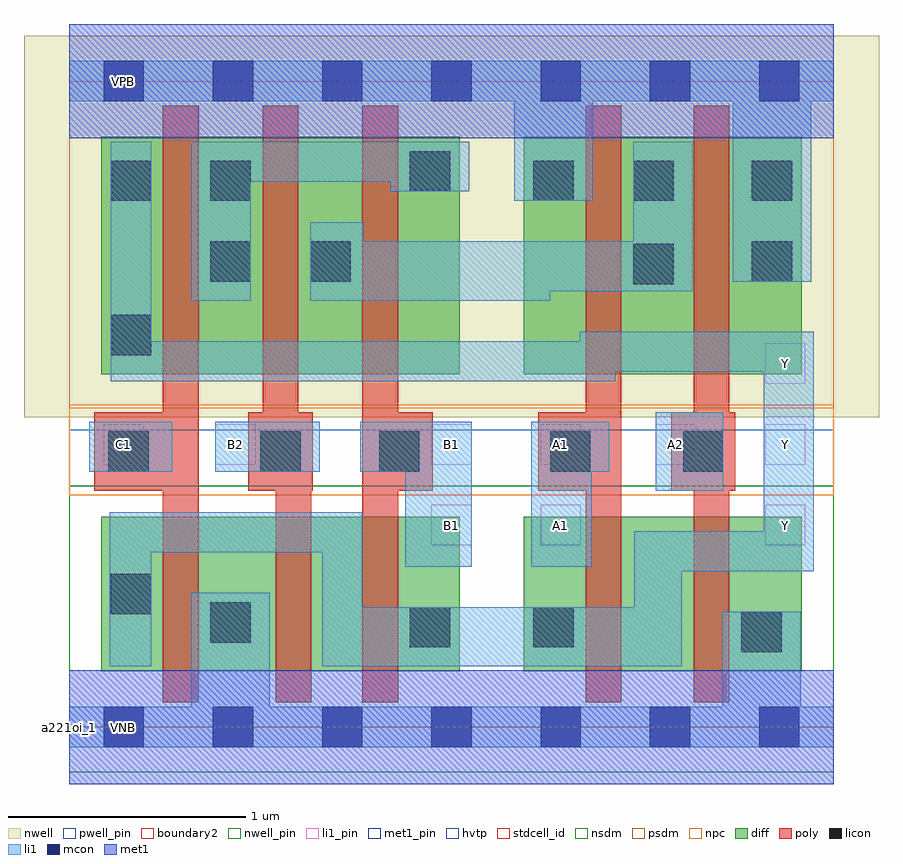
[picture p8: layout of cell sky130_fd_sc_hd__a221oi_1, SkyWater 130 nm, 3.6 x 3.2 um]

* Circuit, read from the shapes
.subckt sky130_fd_sc_hd__a221oi_1 A1 A2 B1 B2 C1 VGND VNB VPB VPWR Y
XM1 VGND C1 Y VNB sky130_fd_pr__nfet_01v8 w=0.65 l=0.15
XM2 n1 B2 VGND VNB sky130_fd_pr__nfet_01v8 w=0.65 l=0.15
XM3 Y B1 n1 VNB sky130_fd_pr__nfet_01v8 w=0.65 l=0.15
XM4 n2 A1 Y VNB sky130_fd_pr__nfet_01v8 w=0.65 l=0.15
XM5 VGND A2 n2 VNB sky130_fd_pr__nfet_01v8 w=0.65 l=0.15
XM6 n3 C1 Y VPB sky130_fd_pr__pfet_01v8_hvt w=1 l=0.15
XM7 n4 B2 n3 VPB sky130_fd_pr__pfet_01v8_hvt w=1 l=0.15
XM8 n3 B1 n4 VPB sky130_fd_pr__pfet_01v8_hvt w=1 l=0.15
XM9 n4 A1 VPWR VPB sky130_fd_pr__pfet_01v8_hvt w=1 l=0.15
XM10 VPWR A2 n4 VPB sky130_fd_pr__pfet_01v8_hvt w=1 l=0.15
.ends

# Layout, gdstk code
import gdstk
lib = gdstk.Library(unit=1e-6, precision=1e-09)
def R(c, l, rs):  # rectangles x0, y0, x1, y1
    for r in rs: c.add(gdstk.rectangle(r[:2], r[2:], *l))
def A(c, l, x, y, w, h, nx, ny, dx, dy):  # array of equal rectangles
    R(c, l, [(x+i*dx, y+j*dy, x+i*dx+w, y+j*dy+h) for i in range(nx) for j in range(ny)])
def P(c, l, *ps):  # polygons
    for p in ps: c.add(gdstk.Polygon(p, *l))
nwell_pin = (64, 16)
nwell = (64, 20)
diff = (65, 20)
poly = (66, 20)
licon = (66, 44)
li1_pin = (67, 16)
li1 = (67, 20)
mcon = (67, 44)
met1_pin = (68, 16)
met1 = (68, 20)
hvtp = (78, 44)
stdcell_id = (81, 4)
nsdm = (93, 44)
psdm = (94, 20)
npc = (95, 20)
pwell_pin = (122, 16)
boundary2 = (236, 0)

sky130_fd_sc_hd__a221oi_ = lib.new_cell('sky130_fd_sc_hd__a221oi_1')
R(sky130_fd_sc_hd__a221oi_, nwell_pin, [(0.145,2.635,0.315,2.805)])
R(sky130_fd_sc_hd__a221oi_, nwell, [(-0.19,1.305,3.41,2.91)])
R(sky130_fd_sc_hd__a221oi_, diff, [(0.135,0.235,1.645,0.885), (1.915,0.235,3.085,0.885), (0.135,1.485,1.645,2.485), (1.915,1.485,3.085,2.485)])
R(sky130_fd_sc_hd__a221oi_, poly, [(1.235,1.325,1.385,2.615), (2.175,1.325,2.325,2.615)])
P(sky130_fd_sc_hd__a221oi_, poly, [(0.545,2.615),(0.395,2.615),(0.395,1.325),(0.105,1.325),(0.105,0.995),(0.395,0.995),(0.395,0.105),(0.545,0.105)],
  [(1.025,0.995),(1.025,1.325),(0.965,1.325),(0.965,2.615),(0.815,2.615),(0.815,1.325),(0.755,1.325),(0.755,0.995),(0.87,0.995),(0.87,0.105),(1.02,0.105),(1.02,0.995)],
  [(1.53,1.325),(1.235,1.325),(1.235,0.105),(1.385,0.105),(1.385,0.995),(1.53,0.995)],
  [(2.325,1.325),(1.975,1.325),(1.975,0.995),(2.175,0.995),(2.175,0.105),(2.325,0.105)],
  [(2.805,0.995),(2.805,1.325),(2.78,1.325),(2.78,2.615),(2.63,2.615),(2.63,1.325),(2.535,1.325),(2.535,0.995),(2.63,0.995),(2.63,0.105),(2.78,0.105),(2.78,0.995)])
R(sky130_fd_sc_hd__a221oi_, licon, [(2.83,0.315,3,0.485), (1.435,0.335,1.605,0.505), (1.955,0.335,2.125,0.505), (0.595,0.355,0.765,0.525), (0.175,0.475,0.345,0.645), (0.165,1.075,0.335,1.245), (0.805,1.075,0.975,1.245), (1.305,1.075,1.475,1.245), (2.025,1.075,2.195,1.245), (2.585,1.075,2.755,1.245), (0.175,1.565,0.345,1.735), (2.375,1.865,2.545,2.035), (0.595,1.875,0.765,2.045), (1.015,1.875,1.185,2.045), (2.875,1.875,3.045,2.045), (0.175,2.215,0.345,2.385), (0.595,2.215,0.765,2.385), (1.955,2.215,2.125,2.385), (2.375,2.215,2.545,2.385), (2.875,2.215,3.045,2.385), (1.435,2.255,1.605,2.425)])
A(sky130_fd_sc_hd__a221oi_, li1_pin, 2.93, 0.765, 0.17, 0.17, 1, 3, 0, 0.34)
R(sky130_fd_sc_hd__a221oi_, li1_pin, [(1.525,0.765,1.695,0.935), (1.985,0.765,2.155,0.935), (0.145,1.105,0.315,1.275), (0.615,1.105,0.785,1.275), (1.525,1.105,1.695,1.275), (1.985,1.105,2.155,1.275), (2.47,1.105,2.64,1.275)])
R(sky130_fd_sc_hd__a221oi_, li1, [(2.47,0.995,2.755,1.325), (0.085,1.075,0.435,1.285), (0.615,1.075,1.055,1.285)])
P(sky130_fd_sc_hd__a221oi_, li1, [(1.695,1.285),(1.225,1.285),(1.225,1.075),(1.415,1.075),(1.415,0.675),(1.695,0.675)],
  [(2.275,1.285),(1.945,1.285),(1.945,0.675),(2.2,0.675),(2.2,1.075),(2.275,1.075)],
  [(1.685,2.465),(0.515,2.465),(0.515,1.795),(0.765,1.795),(0.765,2.295),(1.355,2.295),(1.355,2.255),(1.685,2.255)],
  [(2.625,2.465),(2.375,2.465),(2.375,2.045),(1.24,2.045),(1.24,2.125),(1.015,2.125),(1.015,1.795),(2.025,1.795),(2.025,1.835),(2.625,1.835)],
  [(3.135,1.665),(2.15,1.665),(2.15,1.625),(0.345,1.625),(0.345,2.465),(0.175,2.465),(0.175,1.455),(2.3,1.455),(2.3,1.495),(2.925,1.495),(2.925,0.825),(2.38,0.825),(2.38,0.505),(1.235,0.505),(1.235,0.905),(0.17,0.905),(0.17,0.255),(0.345,0.255),(0.345,0.735),(1.065,0.735),(1.065,0.255),(2.58,0.255),(2.58,0.655),(3.135,0.655)],
  [(3.22,0.085),(3.08,0.085),(3.08,0.485),(2.75,0.485),(2.75,0.085),(0.845,0.085),(0.845,0.565),(0.515,0.565),(0.515,0.085),(0,0.085),(0,-0.085),(3.22,-0.085)],
  [(3.22,2.805),(0,2.805),(0,2.635),(1.875,2.635),(1.875,2.215),(2.205,2.215),(2.205,2.635),(2.795,2.635),(2.795,1.875),(3.125,1.875),(3.125,2.635),(3.22,2.635)])
A(sky130_fd_sc_hd__a221oi_, mcon, 0.145, -0.085, 0.17, 0.17, 7, 2, 0.46, 2.72)
R(sky130_fd_sc_hd__a221oi_, met1_pin, [(0.145,-0.085,0.315,0.085), (0.145,2.635,0.315,2.805)])
R(sky130_fd_sc_hd__a221oi_, hvtp, [(0,1.25,3.22,2.72)])
R(sky130_fd_sc_hd__a221oi_, stdcell_id, [(0,0,3.22,2.72)])
R(sky130_fd_sc_hd__a221oi_, nsdm, [(0,-0.19,3.22,1.015)])
R(sky130_fd_sc_hd__a221oi_, psdm, [(0,1.355,3.22,2.91)])
R(sky130_fd_sc_hd__a221oi_, npc, [(0,0.975,3.22,1.345)])
R(sky130_fd_sc_hd__a221oi_, pwell_pin, [(0.145,-0.085,0.315,0.085)])
R(sky130_fd_sc_hd__a221oi_, boundary2, [(0,0,3.22,2.72)])
sky130_fd_sc_hd__a221oi_.add(gdstk.FlexPath([(0,0),(3.22,0)], 0.48, ends="flush", simple_path=True, layer=68, datatype=20))  # met1
sky130_fd_sc_hd__a221oi_.add(gdstk.FlexPath([(0,2.72),(3.22,2.72)], 0.48, ends="flush", simple_path=True, layer=68, datatype=20))  # met1
sky130_fd_sc_hd__a221oi_.add(gdstk.Label('a221oi_1', (0,0), layer=83, texttype=44))
sky130_fd_sc_hd__a221oi_.add(gdstk.Label('VNB', (0.23,0), layer=64, texttype=59))
sky130_fd_sc_hd__a221oi_.add(gdstk.Label('VPB', (0.23,2.72), layer=64, texttype=5))
sky130_fd_sc_hd__a221oi_.add(gdstk.Label('VPWR', (0.23,2.72), layer=68, texttype=5))
sky130_fd_sc_hd__a221oi_.add(gdstk.Label('VGND', (0.23,0), layer=68, texttype=5))
sky130_fd_sc_hd__a221oi_.add(gdstk.Label('B1', (1.61,0.85), layer=67, texttype=5))
sky130_fd_sc_hd__a221oi_.add(gdstk.Label('A1', (2.07,0.85), layer=67, texttype=5))
sky130_fd_sc_hd__a221oi_.add(gdstk.Label('B1', (1.61,1.19), layer=67, texttype=5))
sky130_fd_sc_hd__a221oi_.add(gdstk.Label('B2', (0.7,1.19), layer=67, texttype=5))
sky130_fd_sc_hd__a221oi_.add(gdstk.Label('A2', (2.555,1.19), layer=67, texttype=5))
sky130_fd_sc_hd__a221oi_.add(gdstk.Label('A1', (2.07,1.19), layer=67, texttype=5))
sky130_fd_sc_hd__a221oi_.add(gdstk.Label('C1', (0.23,1.19), layer=67, texttype=5))
sky130_fd_sc_hd__a221oi_.add(gdstk.Label('Y', (3.015,1.19), layer=67, texttype=5))
sky130_fd_sc_hd__a221oi_.add(gdstk.Label('Y', (3.015,1.53), layer=67, texttype=5))
sky130_fd_sc_hd__a221oi_.add(gdstk.Label('Y', (3.015,0.85), layer=67, texttype=5))

lib.write_gds('sky130_fd_sc_hd__a221oi_1.gds')
